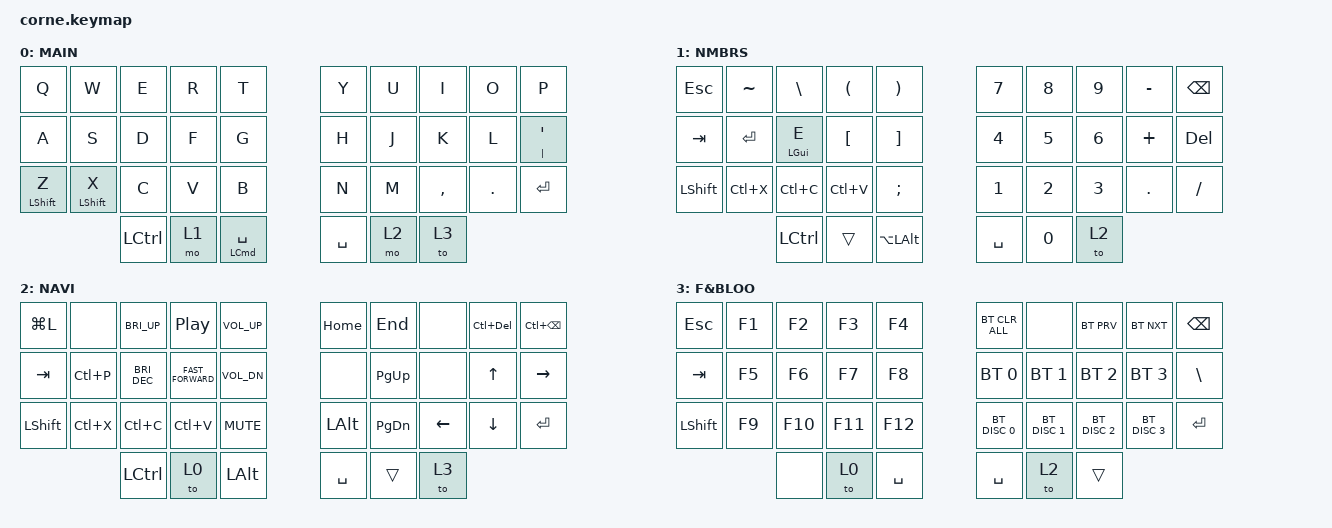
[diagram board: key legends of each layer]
#include <behaviors.dtsi>
#include <dt-bindings/zmk/bt.h>
#include <dt-bindings/zmk/keys.h>

#define DEFAULT 0
#define NUMBERS 1
#define NAVIGATION 2
#define BLUETOOTH 3

/ {
    chosen { zmk,matrix_transform = &five_column_transform; };

    behaviors {
        hm: homerow_mods {
            compatible = "zmk,behavior-hold-tap";
            label = "HOMEROW_MODS";
            #binding-cells = <2>;
            tapping-term-ms = <150>;
            flavor = "tap-preferred";
            bindings = <&kp>, <&kp>;

            quick-tap-ms = <200>;
        };

        keymap {
            compatible = "zmk,keymap";

            QWERTY {
                label = "MAIN";
                bindings = <
  &kp Q             &kp W             &kp E      &kp R  &kp T                     &kp Y      &kp U  &kp I      &kp O       &kp P
  &kp A             &kp S             &kp D      &kp F  &kp G                     &kp H      &kp J  &kp K      &kp L       &hm PIPE SQT
  &hm LEFT_SHIFT Z  &hm LEFT_SHIFT X  &kp C      &kp V  &kp B                     &kp N      &kp M  &kp COMMA  &kp PERIOD  &kp RETURN
                                      &kp LCTRL  &mo 1  &hm LEFT_COMMAND SPACE    &kp SPACE  &mo 2  &to 3
                >;
            };

            numbers_layer {
                bindings = <
  &kp ESC         &kp TILDE  &kp BSLH          &kp LEFT_PARENTHESIS  &kp RIGHT_PARENTHESIS    &kp N7     &kp N8  &kp N9  &kp MINUS  &kp BSPC
  &kp TAB         &kp RET    &hm LGUI E        &kp LBKT              &kp RBKT                 &kp N4     &kp N5  &kp N6  &kp PLUS   &kp DEL
  &kp LEFT_SHIFT  &kp LC(X)  &kp LC(C)         &kp LC(V)             &kp SEMICOLON            &kp N1     &kp N2  &kp N3  &kp DOT    &kp SLASH
                             &kp LEFT_CONTROL  &trans                &kp LA(LEFT_ALT)         &kp SPACE  &kp N0  &to 2
                >;

                label = "NMBRS";
            };

            navigation_layer {
                bindings = <
  &kp LG(L)  &none      &kp C_BRI_UP      &kp C_PLAY_PAUSE    &kp C_VOLUME_UP    &kp HOME      &kp END    &none     &kp LC(DELETE)  &kp LC(BSPC)
  &kp TAB    &kp LC(P)  &kp C_BRI_DEC     &kp C_FAST_FORWARD  &kp C_VOL_DN       &none         &kp PG_UP  &none     &kp UP          &kp RIGHT
  &kp LSHFT  &kp LC(X)  &kp LC(C)         &kp LC(V)           &kp K_MUTE         &kp LEFT_ALT  &kp PG_DN  &kp LEFT  &kp DOWN        &kp RET
                        &kp LEFT_CONTROL  &to 0               &kp LEFT_ALT       &kp SPACE     &trans     &to 3
                >;

                label = "NAVI";
            };

            bluetooth_layer {
                bindings = <
  &kp ESC    &kp F1  &kp F2   &kp F3   &kp F4       &bt BT_CLR_ALL  &none          &bt BT_PRV     &bt BT_NXT     &kp BSPC
  &kp TAB    &kp F5  &kp F6   &kp F7   &kp F8       &bt BT_SEL 0    &bt BT_SEL 1   &bt BT_SEL 2   &bt BT_SEL 3   &kp BSLH
  &kp LSHFT  &kp F9  &kp F10  &kp F11  &kp F12      &bt BT_DISC 0   &bt BT_DISC 1  &bt BT_DISC 2  &bt BT_DISC 3  &kp RET
                     &none    &to 0    &kp SPACE    &kp SPACE       &to 2          &trans
                >;

                label = "F&BLOO";
            };
        };
    };
};
